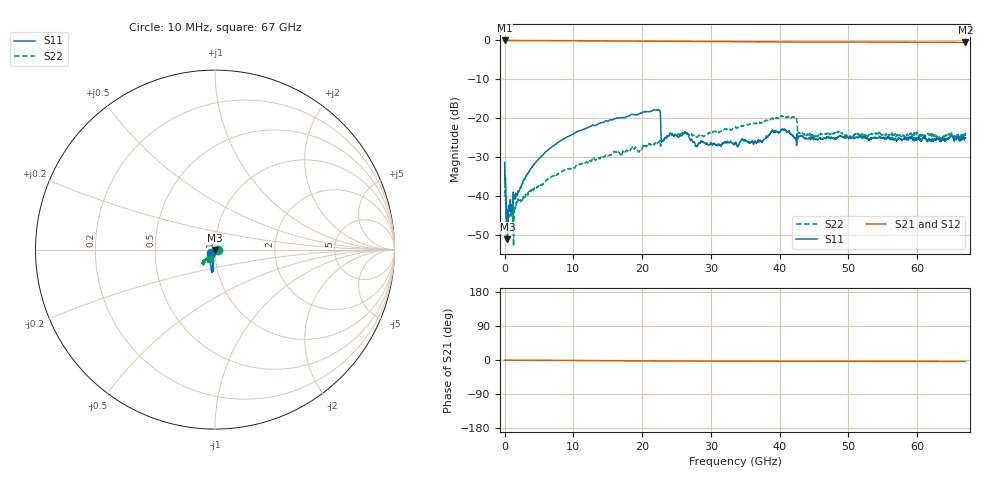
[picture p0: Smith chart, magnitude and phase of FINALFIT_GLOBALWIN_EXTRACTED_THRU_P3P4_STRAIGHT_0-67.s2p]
! Generated by Phase I extraction
# Hz S RI R 50
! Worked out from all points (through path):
!   1601 points, 10 MHz to 67 GHz, reference 50 ohm
!   highest |S21| = -0.03 dB at 10 MHz (marker M1); lowest = -0.5 dB at 67 GHz (marker M2)
!   lowest |S11| = -51.2 dB at 428.7 MHz (marker M3), VSWR 1.01, Z = 49.8 - j0.158 ohm
!   |S11| at or under -10 dB: start of sweep to end of sweep
!   |S22| runs from -52.9 to -19.4 dB; largest |S21 - S12| = 0.01
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1e7  -0.0211 -0.0168  0.997 -0.00967  0.9971 0.000409  0.0142 -0.00225
4.286875e8  -0.00226 -0.00159  0.9968 -0.00977  0.9969 -0.000798  -0.00217 -0.00405
5.961625e8  -0.00648 -0.0035  0.9967 -0.00982  0.9969 -0.00128  -0.00469 -0.00464
1.056719e9  -0.00477 -0.00487  0.9965 -0.00993  0.9967 -0.0026  -0.00371 -0.00475
1.977831e9  -0.00718 -0.00909  0.996 -0.0102  0.9962 -0.00519  -0.0056 -0.00725
3.610712e9  -0.00728 -0.0195  0.995 -0.0114  0.9952 -0.00958  -0.00552 -0.00949
5.243594e9  -0.00695 -0.0308  0.9936 -0.0138  0.9938 -0.0137  -0.00551 -0.0126
1.118896e10  -0.0106 -0.0692  0.9865 -0.0256  0.9866 -0.0262  -0.0113 -0.0234
2.236791e10  -0.0169 -0.1268  0.9695 -0.0427  0.9694 -0.0433  -0.0266 -0.0411
2.307968e10  -0.0255 -0.0448  0.9686 -0.0438  0.9685 -0.0444  -0.0258 -0.0453
2.408453e10  -0.0267 -0.0572  0.9674 -0.0453  0.9674 -0.0458  -0.0264 -0.0543
2.630358e10  -0.0235 -0.0613  0.9655 -0.0475  0.9655 -0.048  -0.0294 -0.0546
2.789459e10  -0.0169 -0.04  0.9644 -0.0485  0.9644 -0.049  -0.0366 -0.0432
3.3505e10  -0.0164 -0.0438  0.9583 -0.0522  0.9583 -0.0528  -0.0533 -0.0549
3.731506e10  -0.0205 -0.0458  0.9522 -0.0546  0.9521 -0.0553  -0.0631 -0.0597
3.898981e10  -0.0228 -0.0664  0.9502 -0.0555  0.95 -0.0564  -0.0626 -0.075
4.053895e10  -0.0235 -0.0663  0.9491 -0.0559  0.9489 -0.0569  -0.0688 -0.0772
4.204622e10  -0.0175 -0.0552  0.9491 -0.0558  0.9488 -0.0569  -0.0718 -0.0721
4.292547e10  -0.0311 -0.0495  0.9493 -0.0556  0.9491 -0.0566  -0.0335 -0.0545
4.468396e10  -0.03 -0.0478  0.95 -0.0552  0.9498 -0.0562  -0.0346 -0.051
5.586291e10  -0.0304 -0.0478  0.9473 -0.059  0.9472 -0.0599  -0.0289 -0.0513
6.7e10  -0.0259 -0.0492  0.9367 -0.0629  0.9362 -0.0653  -0.0255 -0.0532
